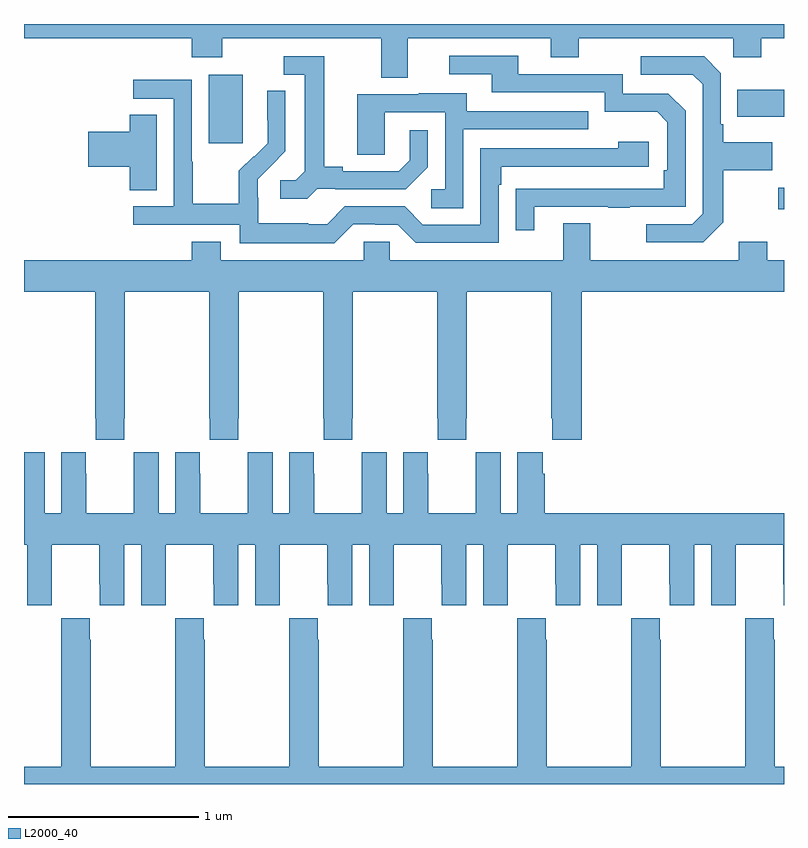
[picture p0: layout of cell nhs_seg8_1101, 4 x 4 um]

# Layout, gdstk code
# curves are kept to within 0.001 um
import gdstk
lib = gdstk.Library(unit=1e-6, precision=1e-09)
def R(c, l, rs):  # rectangles x0, y0, x1, y1
    for r in rs: c.add(gdstk.rectangle(r[:2], r[2:], *l))
def P(c, l, *ps):  # polygons
    for p in ps: c.add(gdstk.Polygon(p, *l))
L2000_40 = (2000, 40)

nhs_seg8_1101 = lib.new_cell('nhs_seg8_1101')
R(nhs_seg8_1101, L2000_40, [(184.971,1124.925,185,1125.038), (181.973,1125.273,182.152,1125.634), (184.753,1125.413,185,1125.553)])
P(nhs_seg8_1101, L2000_40, [(183.019,1125.824),(183.773,1125.824),(183.773,1125.725),(183.921,1125.725),(183.921,1125.824),(184.734,1125.824),(184.734,1125.725),(184.881,1125.725),(184.881,1125.824),(185,1125.824),(185,1125.9),(181,1125.9),(181,1125.824),(181.883,1125.824),(181.883,1125.725),(182.043,1125.725),(182.043,1125.824),(182.879,1125.824),(182.879,1125.616),(183.019,1125.616)],
  [(183.685,1124.937),(184.075,1124.937),(184.075,1124.932),(184.187,1124.932),(184.187,1124.937),(184.482,1124.937),(184.482,1125.444),(184.392,1125.534),(184.152,1125.534),(184.152,1125.636),(183.601,1125.636),(183.601,1125.732),(183.237,1125.732),(183.237,1125.636),(183.461,1125.636),(183.461,1125.54),(184.056,1125.54),(184.056,1125.437),(184.333,1125.437),(184.386,1125.384),(184.386,1125.13),(184.366,1125.13),(184.366,1125.033),(183.589,1125.032),(183.589,1124.814),(183.685,1124.814)],
  [(182.544,1125.033),(182.638,1125.033),(182.638,1125.03),(183.01,1125.03),(183.126,1125.146),(183.126,1125.34),(183.029,1125.34),(183.029,1125.183),(182.972,1125.126),(182.677,1125.126),(182.677,1125.149),(182.581,1125.149),(182.581,1125.729),(182.367,1125.729),(182.367,1125.633),(182.477,1125.633),(182.477,1125.125),(182.43,1125.078),(182.349,1125.078),(182.349,1124.981),(182.492,1124.981)],
  [(184.681,1124.857),(184.681,1125.13),(184.937,1125.13),(184.937,1125.277),(184.681,1125.277),(184.681,1125.373),(184.668,1125.373),(184.668,1125.642),(184.581,1125.729),(184.245,1125.729),(184.245,1125.633),(184.521,1125.633),(184.572,1125.582),(184.572,1124.901),(184.518,1124.847),(184.275,1124.847),(184.275,1124.751),(184.575,1124.751)],
  [(182.733,1124.847),(182.849,1124.847),(182.849,1124.844),(182.967,1124.844),(183.063,1124.748),(183.498,1124.748),(183.498,1125.053),(183.511,1125.053),(183.511,1125.15),(184.288,1125.15),(184.288,1125.28),(184.127,1125.28),(184.127,1125.246),(183.402,1125.246),(183.402,1124.844),(183.099,1124.844),(183.003,1124.94),(182.688,1124.94),(182.595,1124.847),(182.495,1124.847),(182.495,1124.851),(182.232,1124.851),(182.232,1124.985),(182.23,1124.985),(182.23,1125.082),(182.376,1125.23),(182.376,1125.548),(182.28,1125.548),(182.28,1125.394),(182.282,1125.394),(182.282,1125.272),(182.211,1125.201),(182.208,1125.204),(182.131,1125.127),(182.131,1124.953),(181.887,1124.953),(181.887,1125.176),(181.884,1125.176),(181.884,1125.606),(181.575,1125.606),(181.575,1125.507),(181.788,1125.507),(181.788,1124.94),(181.575,1124.94),(181.575,1124.844),(182.136,1124.844),(182.136,1124.747),(182.633,1124.747)],
  [(183.312,1125.345),(183.971,1125.345),(183.971,1125.441),(183.331,1125.441),(183.331,1125.535),(183.077,1125.535),(183.077,1125.531),(182.753,1125.531),(182.753,1125.211),(182.898,1125.211),(182.898,1125.435),(183.216,1125.435),(183.216,1125.03),(183.144,1125.03),(183.144,1124.929),(183.312,1124.929)],
  [(181.699,1125.422),(181.556,1125.422),(181.556,1125.332),(181.338,1125.332),(181.338,1125.149),(181.556,1125.149),(181.556,1125.025),(181.699,1125.025)],
  [(181.527,1123.825),(181.53,1123.825),(181.53,1124.492),(181.975,1124.492),(181.975,1123.825),(181.977,1123.825),(181.977,1123.713),(182.127,1123.713),(182.127,1123.825),(182.13,1123.825),(182.13,1124.492),(182.575,1124.492),(182.575,1123.825),(182.577,1123.825),(182.577,1123.713),(182.727,1123.713),(182.727,1123.825),(182.73,1123.825),(182.73,1124.492),(183.175,1124.492),(183.175,1123.825),(183.177,1123.825),(183.177,1123.713),(183.327,1123.713),(183.327,1123.825),(183.33,1123.825),(183.33,1124.492),(183.775,1124.492),(183.775,1123.825),(183.781,1123.825),(183.781,1123.713),(183.935,1123.713),(183.935,1124.492),(185,1124.492),(185,1124.656),(184.911,1124.656),(184.911,1124.755),(184.763,1124.755),(184.763,1124.656),(183.979,1124.656),(183.979,1124.851),(183.839,1124.851),(183.839,1124.656),(182.925,1124.656),(182.925,1124.754),(182.787,1124.754),(182.787,1124.656),(182.035,1124.656),(182.035,1124.755),(181.883,1124.755),(181.883,1124.656),(181,1124.656),(181,1124.492),(181.375,1124.492),(181.375,1123.825),(181.377,1123.825),(181.377,1123.713),(181.527,1123.713)],
  [(181.146,1122.952),(181.147,1122.952),(181.147,1123.16),(181.397,1123.16),(181.397,1122.952),(181.398,1122.952),(181.398,1122.84),(181.528,1122.84),(181.528,1123.16),(181.616,1123.16),(181.616,1122.84),(181.746,1122.84),(181.746,1122.952),(181.747,1122.952),(181.747,1123.16),(181.997,1123.16),(181.997,1122.952),(181.998,1122.952),(181.998,1122.84),(182.128,1122.84),(182.128,1123.16),(182.216,1123.16),(182.216,1122.84),(182.346,1122.84),(182.346,1122.952),(182.347,1122.952),(182.347,1123.16),(182.597,1123.16),(182.597,1122.952),(182.598,1122.952),(182.598,1122.84),(182.728,1122.84),(182.728,1123.16),(182.816,1123.16),(182.816,1122.84),(182.946,1122.84),(182.946,1122.952),(182.947,1122.952),(182.947,1123.16),(183.197,1123.16),(183.197,1122.952),(183.198,1122.952),(183.198,1122.84),(183.328,1122.84),(183.328,1123.16),(183.416,1123.16),(183.416,1122.84),(183.546,1122.84),(183.546,1122.952),(183.547,1122.952),(183.547,1123.16),(183.797,1123.16),(183.797,1122.952),(183.798,1122.952),(183.798,1122.84),(183.928,1122.84),(183.928,1123.16),(184.016,1123.16),(184.016,1122.84),(184.146,1122.84),(184.146,1122.952),(184.147,1122.952),(184.147,1123.16),(184.397,1123.16),(184.397,1122.952),(184.398,1122.952),(184.398,1122.84),(184.528,1122.84),(184.528,1123.16),(184.616,1123.16),(184.616,1122.84),(184.746,1122.84),(184.746,1122.952),(184.747,1122.952),(184.747,1123.16),(184.997,1123.16),(184.997,1122.952),(184.998,1122.952),(184.998,1122.84),(185,1122.84),(185,1123.324),(183.74,1123.324),(183.74,1123.532),(183.73,1123.532),(183.73,1123.645),(183.596,1123.645),(183.596,1123.324),(183.508,1123.324),(183.508,1123.645),(183.378,1123.645),(183.378,1123.532),(183.377,1123.532),(183.377,1123.324),(183.127,1123.324),(183.127,1123.532),(183.126,1123.532),(183.126,1123.645),(182.996,1123.645),(182.996,1123.324),(182.908,1123.324),(182.908,1123.645),(182.778,1123.645),(182.778,1123.532),(182.777,1123.532),(182.777,1123.324),(182.527,1123.324),(182.527,1123.532),(182.526,1123.532),(182.526,1123.645),(182.396,1123.645),(182.396,1123.324),(182.308,1123.324),(182.308,1123.645),(182.178,1123.645),(182.178,1123.532),(182.177,1123.532),(182.177,1123.324),(181.927,1123.324),(181.927,1123.532),(181.926,1123.532),(181.926,1123.645),(181.796,1123.645),(181.796,1123.324),(181.708,1123.324),(181.708,1123.645),(181.578,1123.645),(181.578,1123.532),(181.577,1123.532),(181.577,1123.324),(181.327,1123.324),(181.327,1123.532),(181.326,1123.532),(181.326,1123.645),(181.196,1123.645),(181.196,1123.324),(181.108,1123.324),(181.108,1123.645),(181,1123.645),(181,1123.16),(181.016,1123.16),(181.016,1122.84),(181.146,1122.84)],
  [(183.597,1122.659),(183.595,1122.659),(183.595,1121.992),(183.15,1121.992),(183.15,1122.659),(183.147,1122.659),(183.147,1122.772),(182.997,1122.772),(182.997,1122.659),(182.995,1122.659),(182.995,1121.992),(182.55,1121.992),(182.55,1122.659),(182.547,1122.659),(182.547,1122.772),(182.397,1122.772),(182.397,1122.659),(182.395,1122.659),(182.395,1121.992),(181.95,1121.992),(181.95,1122.659),(181.947,1122.659),(181.947,1122.772),(181.797,1122.772),(181.797,1122.659),(181.795,1122.659),(181.795,1121.992),(181.35,1121.992),(181.35,1122.659),(181.347,1122.659),(181.347,1122.772),(181.197,1122.772),(181.197,1122.659),(181.195,1122.659),(181.195,1121.992),(181,1121.992),(181,1121.9),(185,1121.9),(185,1121.992),(184.95,1121.992),(184.95,1122.659),(184.947,1122.659),(184.947,1122.772),(184.797,1122.772),(184.797,1122.659),(184.795,1122.659),(184.795,1121.992),(184.35,1121.992),(184.35,1122.659),(184.347,1122.659),(184.347,1122.772),(184.197,1122.772),(184.197,1122.659),(184.195,1122.659),(184.195,1121.992),(183.75,1121.992),(183.75,1122.659),(183.747,1122.659),(183.747,1122.772),(183.597,1122.772)])

lib.write_gds('nhs_seg8_1101.gds')
